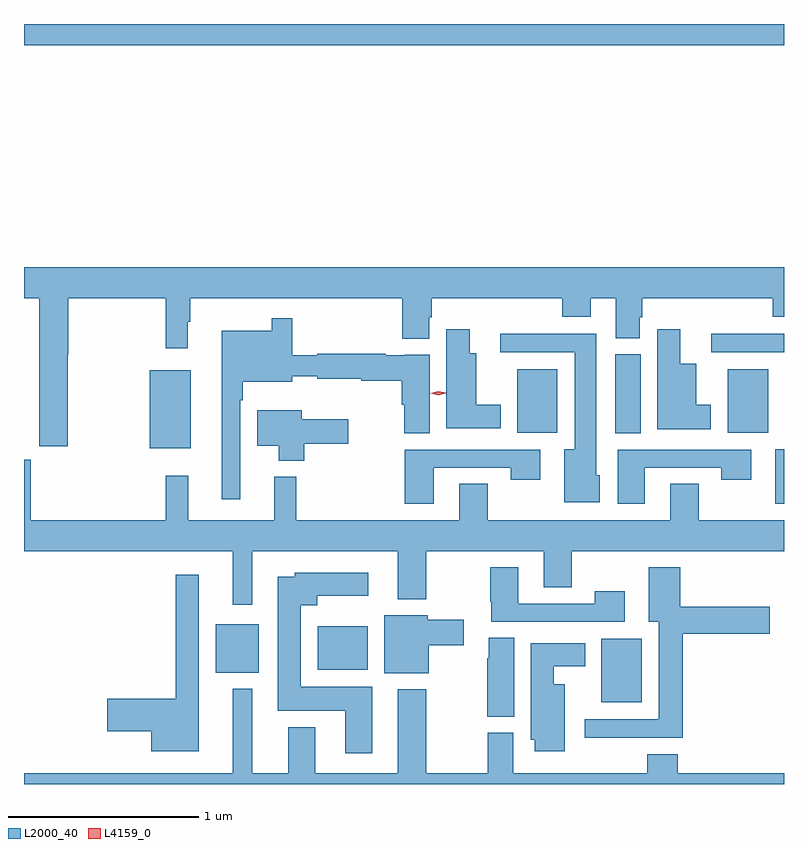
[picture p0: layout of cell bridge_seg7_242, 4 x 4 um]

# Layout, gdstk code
import gdstk
lib = gdstk.Library(unit=1e-6, precision=1e-09)
def R(c, l, rs):  # rectangles x0, y0, x1, y1
    for r in rs: c.add(gdstk.rectangle(r[:2], r[2:], *l))
def P(c, l, *ps):  # polygons
    for p in ps: c.add(gdstk.Polygon(p, *l))
L2000_40 = (2000, 40)
L4159_0 = (4159, 0)

bridge_seg7_242 = lib.new_cell('bridge_seg7_242')
R(bridge_seg7_242, L2000_40, [(229.004,1053.101,229.216,1053.436), (226.973,1053.257,227.2,1053.511), (227.51,1053.272,227.773,1053.502), (229.919,1054.146,229.965,1054.432), (226.628,1054.439,226.843,1054.849), (229.076,1054.516,229.21,1054.932), (228.56,1054.52,228.772,1054.855), (229.67,1054.52,229.882,1054.855), (229.581,1054.944,229.965,1055.042), (225.965,1056.56,229.965,1056.671)])
P(bridge_seg7_242, L2000_40, [(226.194,1054.932),(226.199,1054.932),(226.199,1055.228),(226.711,1055.228),(226.711,1054.965),(226.828,1054.965),(226.828,1055.105),(226.84,1055.105),(226.84,1055.228),(227.957,1055.228),(227.957,1055.015),(228.097,1055.015),(228.097,1055.127),(228.11,1055.127),(228.11,1055.228),(228.797,1055.228),(228.797,1055.129),(228.949,1055.129),(228.949,1055.228),(229.079,1055.228),(229.079,1055.017),(229.207,1055.017),(229.207,1055.127),(229.22,1055.127),(229.22,1055.228),(229.907,1055.228),(229.907,1055.129),(229.965,1055.129),(229.965,1055.392),(225.965,1055.392),(225.965,1055.228),(226.046,1055.228),(226.046,1054.449),(226.194,1054.449)],
  [(227.103,1054.691),(227.116,1054.691),(227.116,1054.787),(227.377,1054.787),(227.377,1054.817),(227.508,1054.817),(227.508,1054.805),(227.739,1054.805),(227.739,1054.793),(227.954,1054.793),(227.954,1054.667),(227.966,1054.667),(227.966,1054.516),(228.1,1054.516),(228.1,1054.93),(227.97,1054.93),(227.97,1054.927),(227.87,1054.927),(227.87,1054.935),(227.508,1054.935),(227.508,1054.927),(227.377,1054.927),(227.377,1055.122),(227.268,1055.122),(227.268,1055.056),(227.006,1055.056),(227.006,1054.17),(227.103,1054.17)],
  [(229.579,1054.666),(229.504,1054.666),(229.504,1054.882),(229.42,1054.882),(229.42,1055.065),(229.298,1055.065),(229.298,1054.538),(229.579,1054.538)],
  [(228.475,1054.666),(228.346,1054.666),(228.346,1054.939),(228.31,1054.939),(228.31,1055.065),(228.188,1055.065),(228.188,1054.544),(228.475,1054.544)],
  [(228.994,1054.296),(228.976,1054.296),(228.976,1055.042),(228.471,1055.042),(228.471,1054.944),(228.863,1054.944),(228.863,1054.432),(228.809,1054.432),(228.809,1054.154),(228.994,1054.154)],
  [(227.441,1054.462),(227.671,1054.462),(227.671,1054.591),(227.428,1054.591),(227.428,1054.639),(227.192,1054.639),(227.192,1054.451),(227.306,1054.451),(227.306,1054.373),(227.441,1054.373)],
  [(229.231,1054.335),(229.636,1054.335),(229.636,1054.272),(229.792,1054.272),(229.792,1054.431),(229.091,1054.431),(229.091,1054.146),(229.231,1054.146)],
  [(228.121,1054.335),(228.526,1054.335),(228.526,1054.272),(228.682,1054.272),(228.682,1054.431),(227.969,1054.431),(227.969,1054.146),(228.121,1054.146)],
  [(227.167,1053.896),(227.933,1053.896),(227.933,1053.644),(228.081,1053.644),(228.081,1053.896),(228.701,1053.896),(228.701,1053.706),(228.849,1053.706),(228.849,1053.896),(229.965,1053.896),(229.965,1054.06),(229.515,1054.06),(229.515,1054.25),(229.367,1054.25),(229.367,1054.06),(228.405,1054.06),(228.405,1054.25),(228.257,1054.25),(228.257,1054.06),(227.399,1054.06),(227.399,1054.288),(227.282,1054.288),(227.282,1054.06),(226.829,1054.06),(226.829,1054.294),(226.711,1054.294),(226.711,1054.06),(226,1054.06),(226,1054.377),(225.965,1054.377),(225.965,1053.896),(227.063,1053.896),(227.063,1053.615),(227.167,1053.615)],
  [(229.126,1053.685),(228.97,1053.685),(228.97,1053.621),(228.565,1053.621),(228.565,1053.811),(228.418,1053.811),(228.418,1053.631),(228.425,1053.631),(228.425,1053.525),(229.126,1053.525)],
  [(229.433,1053.461),(229.891,1053.461),(229.891,1053.603),(229.42,1053.603),(229.42,1053.811),(229.253,1053.811),(229.253,1053.524),(229.307,1053.524),(229.307,1053.012),(228.915,1053.012),(228.915,1052.915),(229.433,1052.915)],
  [(227.797,1053.184),(227.422,1053.184),(227.422,1053.611),(227.509,1053.611),(227.509,1053.662),(227.776,1053.662),(227.776,1053.784),(227.391,1053.784),(227.391,1053.763),(227.3,1053.763),(227.3,1053.056),(227.657,1053.056),(227.657,1052.832),(227.797,1052.832)],
  [(226.885,1053.772),(226.764,1053.772),(226.764,1053.119),(226.404,1053.119),(226.404,1052.948),(226.634,1052.948),(226.634,1052.843),(226.885,1052.843)],
  [(228.094,1053.401),(228.28,1053.401),(228.28,1053.535),(228.09,1053.535),(228.09,1053.559),(227.861,1053.559),(227.861,1053.254),(228.094,1053.254)],
  [(228.544,1053.44),(228.41,1053.44),(228.41,1053.332),(228.403,1053.332),(228.403,1053.025),(228.544,1053.025)],
  [(228.811,1053.196),(228.754,1053.196),(228.754,1053.29),(228.919,1053.29),(228.919,1053.412),(228.632,1053.412),(228.632,1052.904),(228.653,1052.904),(228.653,1052.844),(228.811,1052.844)],
  [(229.965,1052.728),(229.406,1052.728),(229.406,1052.827),(229.246,1052.827),(229.246,1052.728),(228.541,1052.728),(228.541,1052.94),(228.406,1052.94),(228.406,1052.728),(228.081,1052.728),(228.081,1053.169),(227.933,1053.169),(227.933,1052.728),(227.497,1052.728),(227.497,1052.971),(227.357,1052.971),(227.357,1052.728),(227.167,1052.728),(227.167,1053.172),(227.063,1053.172),(227.063,1052.728),(225.965,1052.728),(225.965,1052.671),(229.965,1052.671)])
P(bridge_seg7_242, L4159_0, [(228.144,1054.718),(228.105,1054.728),(228.104,1054.728),(228.105,1054.728),(228.144,1054.738),(228.184,1054.729),(228.184,1054.729),(228.184,1054.728)])

lib.write_gds('bridge_seg7_242.gds')
